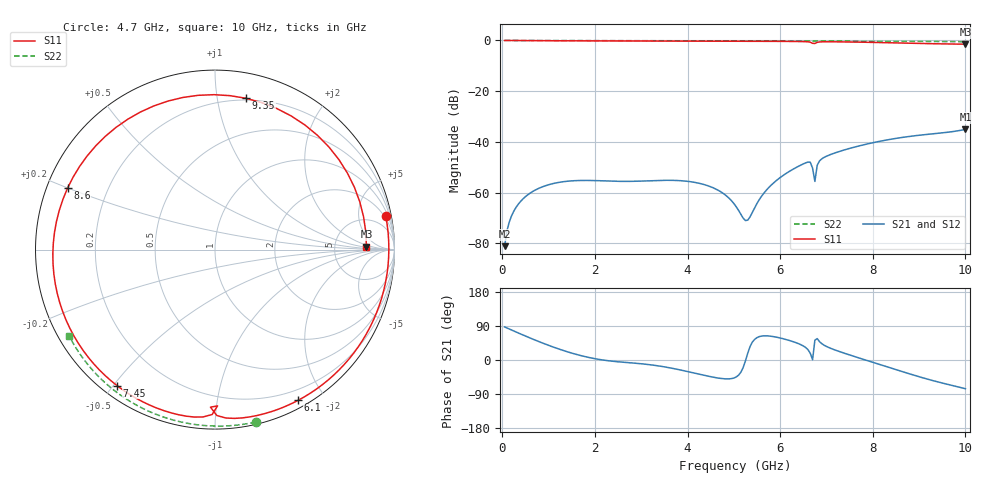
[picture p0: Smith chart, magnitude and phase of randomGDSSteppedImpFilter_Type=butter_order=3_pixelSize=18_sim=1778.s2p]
! freq	dB(S11)	phase(S11)	dB(S12)	phase(S12)
!  dB(S21)	phase(S21)	dB(S22)	phase(S22)
!S-par simulation data
#  GHz  S  DB  R 50
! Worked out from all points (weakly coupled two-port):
!   200 points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, 50 MHz to 10 GHz, reference 50 ohm
!   highest |S21| = -35.07 dB at 10 GHz (marker M1); lowest = -81.1 dB at 50 MHz (marker M2)
!   lowest |S11| = -1.5 dB at 10 GHz (marker M3), VSWR 11.79, Z = 582 + j64.3 ohm
!   |S11| at or under -10 dB: nowhere
!   |S22| runs from -0.5 to 0.0 dB; largest |S21 - S12| = 0
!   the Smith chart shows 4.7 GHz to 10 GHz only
!   S11 on the Smith chart (normalised r, x): 4.7 GHz: 2, +10; 6.1 GHz: 0.08, -1.69; 7.45 GHz: 0.04, -0.51; 8.6 GHz: 0.06, +0.20; 9.35 GHz: 0.19, +1.21; 10 GHz: 12, +1
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0.05  -0.00 -4.6  -81.12 87.3  -81.12 87.3  -0.00 -0.9
0.3  -0.04 -27.5  -65.74 73.7  -65.74 73.7  -0.01 -5.2
0.9  -0.10 -80.6  -57.49 43.3  -57.49 43.3  -0.02 -15.5
1.3  -0.13 -114.1  -55.74 25.8  -55.74 25.8  -0.03 -22.3
1.75  -0.16 -149.8  -55.20 10.0  -55.20 10.0  -0.04 -29.9
2.45  -0.20 157.9  -55.53 -4.1  -55.53 -4.1  -0.05 -41.5
3.4  -0.23 91.7  -55.18 -16.1  -55.18 -16.1  -0.08 -56.8
4.1  -0.25 46.6  -55.80 -33.2  -55.80 -33.2  -0.09 -67.7
4.7  -0.27 11.1  -59.48 -48.3  -59.48 -48.3  -0.11 -76.7
5.05  -0.28 -8.2  -65.54 -44.9  -65.54 -44.9  -0.13 -81.9
5.3  -0.30 -21.4  -70.86 17.9  -70.86 17.9  -0.14 -85.6
6.1  -0.36 -61.1  -52.78 55.0  -52.78 55.0  -0.17 -97.0
6.7  -1.13 -91.6  -50.33 0.6  -50.33 0.6  -0.20 -105.3
6.75  -1.20 -89.1  -55.59 52.3  -55.59 52.3  -0.21 -106.0
6.85  -0.58 -94.1  -47.50 48.4  -47.50 48.4  -0.21 -107.3
7.45  -0.59 -125.8  -42.83 15.3  -42.83 15.3  -0.25 -115.5
8.35  -0.90 177.7  -39.08 -19.6  -39.08 -19.6  -0.32 -127.4
8.6  -1.01 157.4  -38.33 -29.2  -38.33 -29.2  -0.35 -130.7
9.05  -1.21 113.1  -37.28 -45.9  -37.28 -45.9  -0.39 -136.7
9.35  -1.31 78.5  -36.72 -56.1  -36.72 -56.1  -0.42 -140.6
9.7  -1.38 36.0  -36.00 -66.6  -36.00 -66.6  -0.46 -145.2
10  -1.48 1.1  -35.07 -75.8  -35.07 -75.8  -0.50 -149.2
